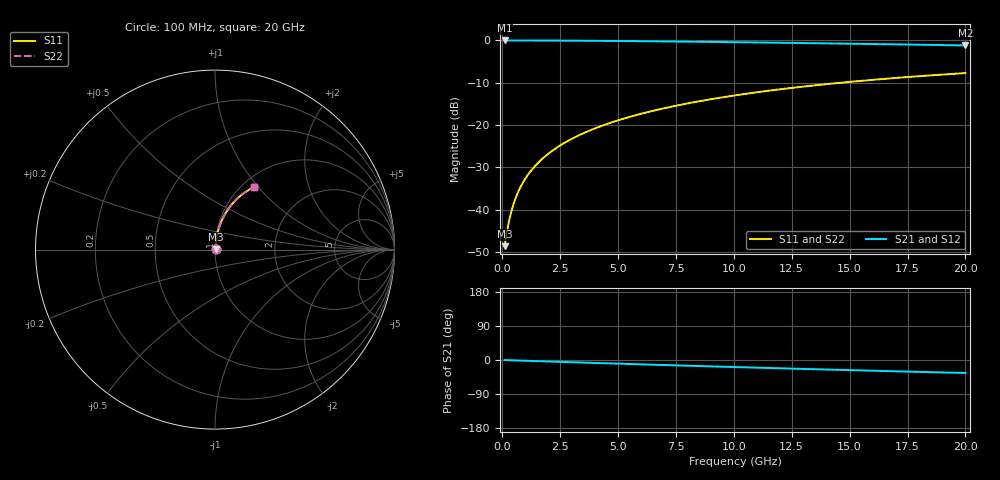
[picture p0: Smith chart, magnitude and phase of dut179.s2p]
! Touchstone file exported from HFSS 2024.1.0
!  File:  C:/UserFiles/LocalFiles/RDL_TSV_Batchsim/temp_RDL_top_179_1778686135.aedt
!  Generated:  11:31:23 PM May 13, 2026
!  Design:  RDL_top
!  Project:  temp_RDL_top_179_1778686135
!  Setup:  Setup1
!  Solution:  Sweep
! Variables:
!  dtsv = 10.80580581um
!  hbump = 3um
!  htsv = 50.36um
!  ldown = 100um
!  lrdl = 427.76um
!  p = 40
!  p1 = 49.48um
!  rhole = 1um
!  t = 450um
!  tdown = 3.915915916um
!  trdl = 4.75um
!  wdown = 15.38538539um
!  wrdl = 11.41um
# GHz S MA R 50.000000
! Terminal data exported
! Port[1] = Box2_T1
! Port[2] = Box2_T2
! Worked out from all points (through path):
!   200 points, 100 MHz to 20 GHz, reference 50 ohm
!   highest |S21| = -0.02 dB at 100 MHz (marker M1); lowest = -1.2 dB at 20 GHz (marker M2)
!   group delay of S21, straight-line fit = 4.75 ps
!   lowest |S11| = -48.6 dB at 100 MHz (marker M3), VSWR 1.01, Z = 50.3 + j0.237 ohm
!   |S11| at or under -10 dB: start of sweep to 14.64 GHz
!   |S22| runs from -48.6 to -7.7 dB; largest |S21 - S12| = 3.1e-15
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0.1  0.003706 39.5  0.9971 -0.2  0.9971 -0.2  0.003706 39.5
! Gamma 0 0 0 0
! Port Impedance 50 0 50 0
0.2  0.005485 58.6  0.9971 -0.4  0.9971 -0.4  0.005486 58.6
0.3  0.007561 67.6  0.997 -0.6  0.997 -0.6  0.007563 67.7
0.4  0.009745 72.6  0.9969 -0.8  0.9969 -0.8  0.009746 72.6
0.5  0.01198 75.6  0.9968 -1.0  0.9968 -1.0  0.01198 75.6
0.6  0.01423 77.5  0.9967 -1.2  0.9967 -1.2  0.01423 77.5
0.8  0.01877 79.9  0.9965 -1.6  0.9965 -1.6  0.01878 79.9
1.1  0.02562 81.6  0.9961 -2.2  0.9961 -2.2  0.02562 81.6
1.5  0.03473 82.5  0.9954 -3.0  0.9954 -3.0  0.03473 82.5
1.8  0.04154 82.8  0.9948 -3.6  0.9948 -3.6  0.04154 82.8
2.1  0.04834 82.8  0.9941 -4.1  0.9941 -4.1  0.04834 82.8
2.7  0.06191 82.6  0.9924 -5.3  0.9924 -5.3  0.06191 82.6
3.5  0.07994 81.9  0.9896 -6.9  0.9896 -6.9  0.07994 81.9
4.2  0.09567 81.2  0.9868 -8.2  0.9868 -8.2  0.09567 81.2
5  0.1136 80.2  0.983 -9.7  0.983 -9.7  0.1136 80.2
5.9  0.1336 79.0  0.9783 -11.4  0.9783 -11.4  0.1336 79.0
6.8  0.1536 77.8  0.9731 -13.0  0.9731 -13.0  0.1536 77.8
8.3  0.1864 75.6  0.9637 -15.7  0.9637 -15.7  0.1864 75.6
10.1  0.2249 72.9  0.9514 -18.8  0.9514 -18.8  0.2249 72.9
13.4  0.2923 67.8  0.9264 -24.2  0.9264 -24.2  0.2923 67.8
16.7  0.3545 62.8  0.8993 -29.4  0.8993 -29.4  0.3545 62.8
20  0.4106 58.0  0.871 -34.3  0.871 -34.3  0.4106 58.0
